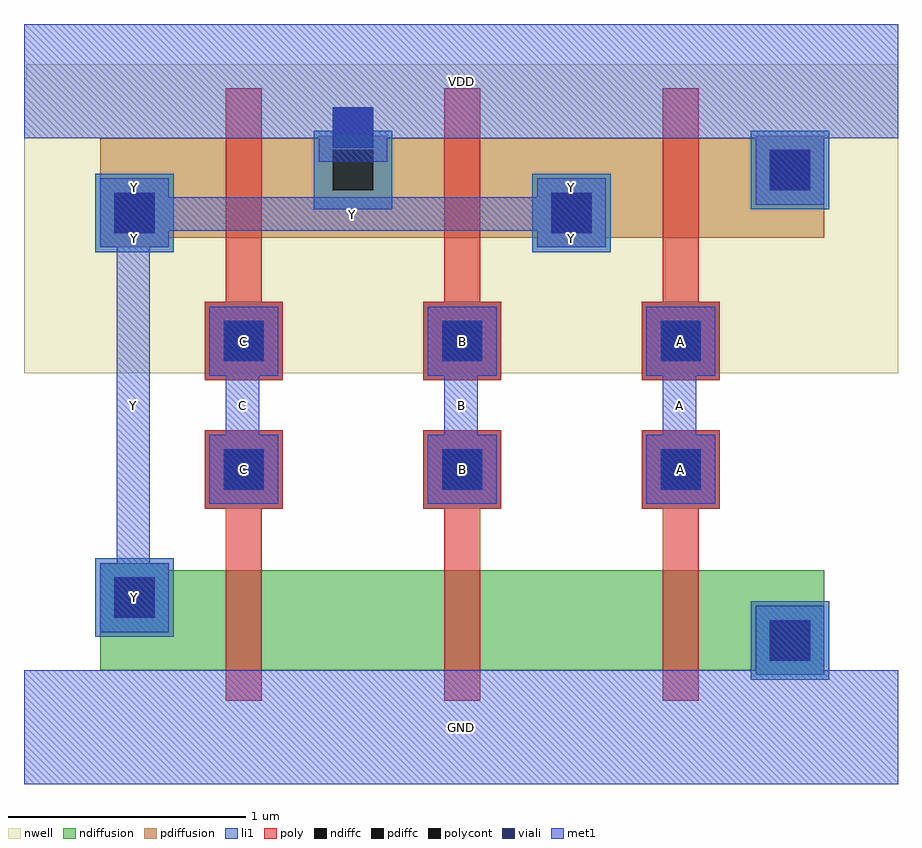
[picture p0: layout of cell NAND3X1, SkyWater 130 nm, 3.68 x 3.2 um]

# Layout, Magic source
magic
# Generated by librecell
tech sky130A
<< nwell >>
rect 0 149 368 272
rect 1 272 368 279
<< viali >>
rect 314 28 331 45
rect 38 46 55 63
rect 84 100 101 117
rect 176 100 193 117
rect 268 100 285 117
rect 84 154 101 171
rect 176 154 193 171
rect 268 154 285 171
rect 38 208 55 225
rect 222 208 239 225
rect 314 226 331 243
rect 130 244 147 261
<< poly >>
rect 85 11 100 92
rect 76 92 109 125
rect 177 11 192 92
rect 168 92 201 125
rect 269 11 284 92
rect 260 92 293 125
rect 76 146 109 179
rect 85 179 100 269
rect 168 146 201 179
rect 177 179 192 269
rect 260 146 293 179
rect 269 179 284 269
<< properties >>
string FIXED_BBOX 0 0 368 272
<< li1 >>
rect 306 20 339 53
rect 30 38 63 71
rect 76 92 109 125
rect 168 92 201 125
rect 260 92 293 125
rect 76 146 109 179
rect 168 146 201 179
rect 260 146 293 179
rect 30 200 63 233
rect 214 200 247 233
rect 306 218 339 251
rect 122 218 155 251
rect 130 251 147 261
<< met1 >>
rect 0 -24 368 24
rect 308 24 337 51
rect 78 94 107 123
rect 85 123 99 148
rect 78 148 107 177
rect 170 94 199 123
rect 177 123 191 148
rect 170 148 199 177
rect 262 94 291 123
rect 269 123 283 148
rect 262 148 291 177
rect 32 40 61 69
rect 39 69 53 202
rect 32 202 61 209
rect 216 202 245 209
rect 32 209 245 223
rect 32 223 61 231
rect 216 223 245 231
rect 124 238 153 248
rect 308 220 337 248
rect 0 248 368 296
<< li1 >>
<< met1 >>
<< li1 >>
<< met1 >>
rect 0 -24 368 24
rect 78 94 107 123
rect 85 123 99 148
rect 78 148 107 177
rect 170 94 199 123
rect 177 123 191 148
rect 170 148 199 177
rect 262 94 291 123
rect 269 123 283 148
rect 262 148 291 177
rect 32 40 61 69
rect 39 69 53 202
rect 32 202 61 209
rect 216 202 245 209
rect 32 209 245 223
rect 32 223 61 231
rect 216 223 245 231
rect 0 248 368 296
<< ndiffusion >>
rect 308 22 337 24
rect 32 24 337 66
rect 32 66 61 69
<< pdiffusion >>
rect 32 202 61 206
rect 216 202 245 206
rect 32 206 337 248
rect 124 248 153 249
rect 308 248 337 249
<< polycont >>
rect 84 100 101 117
rect 176 100 193 117
rect 268 100 285 117
rect 84 154 101 171
rect 176 154 193 171
rect 268 154 285 171
<< pdiffc >>
rect 38 208 55 225
rect 222 208 239 225
rect 130 226 147 243
rect 314 226 331 243
<< ndiffc >>
rect 314 28 331 45
rect 38 46 55 63
<< labels >>
rlabel metal2 0 248 368 296 0 VDD
port 1 se
rlabel metal2 0 -24 368 24 0 GND
port 2 se
rlabel metal2 32 40 61 69 0 Y
port 3 se
rlabel metal2 39 69 53 202 0 Y
port 4 se
rlabel metal2 32 202 61 209 0 Y
port 5 se
rlabel metal2 216 202 245 209 0 Y
port 6 se
rlabel metal2 32 209 245 223 0 Y
port 7 se
rlabel metal2 32 223 61 231 0 Y
port 8 se
rlabel metal2 216 223 245 231 0 Y
port 9 se
rlabel metal2 170 94 199 123 0 B
port 10 se
rlabel metal2 177 123 191 148 0 B
port 11 se
rlabel metal2 170 148 199 177 0 B
port 12 se
rlabel metal2 262 94 291 123 0 A
port 13 se
rlabel metal2 269 123 283 148 0 A
port 14 se
rlabel metal2 262 148 291 177 0 A
port 15 se
rlabel metal2 78 94 107 123 0 C
port 16 se
rlabel metal2 85 123 99 148 0 C
port 17 se
rlabel metal2 78 148 107 177 0 C
port 18 se
<< end >>
